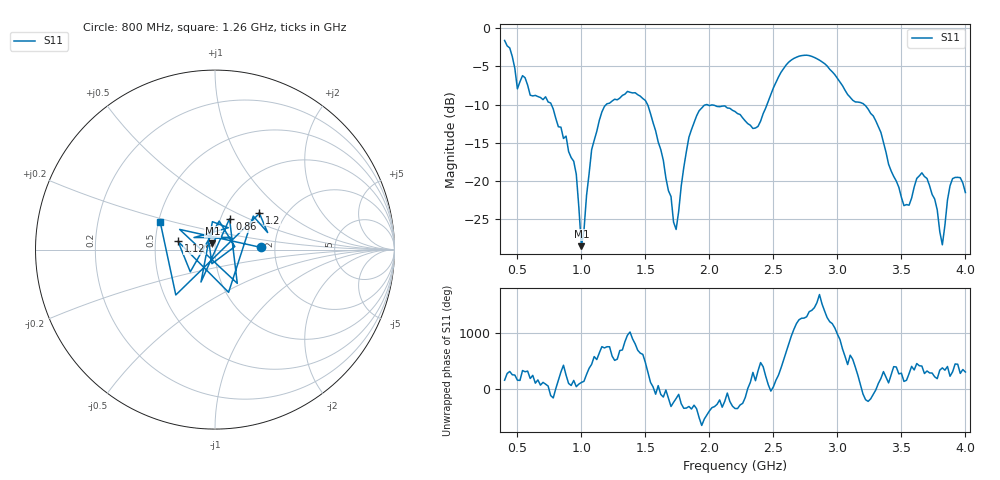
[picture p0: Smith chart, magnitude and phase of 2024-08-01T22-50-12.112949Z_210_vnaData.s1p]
!Created with skrf (http://scikit-rf.org).
# Hz S RI R 50.0
!freq ReS11 ImS11
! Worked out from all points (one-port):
!   181 points, 400 MHz to 4 GHz, reference 50 ohm
!   lowest |S11| = -28.5 dB at 1 GHz (marker M1), VSWR 1.08, Z = 48.4 + j3.35 ohm
!   |S11| at or under -10 dB: 1.517 GHz to 1.975 GHz (457.9 MHz wide, 26.2 % of centre); 1.983 GHz to 2.45 GHz (466.7 MHz wide, 21.1 % of centre); 3.21 GHz to end of sweep (the widest 3 of 4)
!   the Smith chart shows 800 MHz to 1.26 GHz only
!   S11 on the Smith chart (normalised r, x): 800 MHz: 1.69, +0.04; 860 MHz: 1.10, +0.39; 1.12 GHz: 0.66, +0.06; 1.2 GHz: 1.47, +0.67; 1.26 GHz: 0.51, +0.18
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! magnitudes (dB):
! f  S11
! 400 MHz  -1.6
! 500 MHz  -7.9
! 540 MHz  -6.2
! 800 MHz  -11.8
! 860 MHz  -14.4
! 960 MHz  -19.1
! 1 GHz  -28.5
! 1.08 GHz  -15.9
! 1.12 GHz  -13.5
! 1.2 GHz  -9.9
! 1.26 GHz  -9.3
! 1.3 GHz  -9.1
! 1.52 GHz  -10.1
! 1.72 GHz  -25.4
! 1.76 GHz  -23.9
! 1.84 GHz  -14.3
! 1.92 GHz  -10.8
! 2.2 GHz  -10.9
! 2.38 GHz  -12.8
! 2.66 GHz  -4.0
! 2.9 GHz  -4.6
! 3.1 GHz  -9.0
! 3.28 GHz  -11.5
! 3.56 GHz  -23.1
! 3.7 GHz  -19.7
! 3.82 GHz  -28.3
! 3.9 GHz  -19.7
! 4 GHz  -21.5
